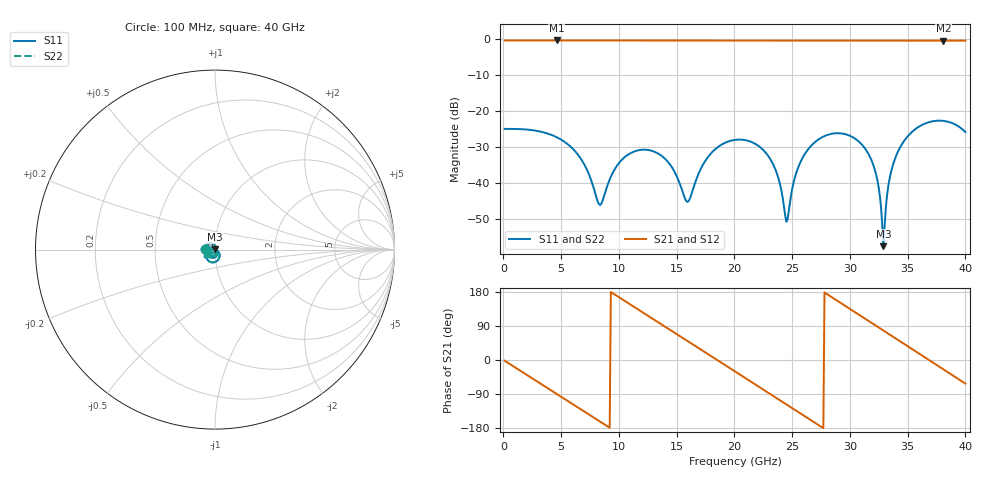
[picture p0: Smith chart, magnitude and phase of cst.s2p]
! T_ts6_ms_10: Microstrip L1, ThunderScope stack, w 0.265 mm, 10 mm
! stackup: ThunderScope Rev5.3 6-layer (FR408HR / FR-4, from the board file)
! ports: 1 near A, 2 far A
! CST Studio Suite 2025.5 Release from 2025-05-30, time domain (FIT, hexahedral, PBA), 92742 mesh cells, 20 s
! mesh: {'lpw': 20, 'lpb': 20, 'minstep': 0.0, 'ratio': 20}; ports: port 1 (face); port 2 (face)
! interpolated from CST's 1001 samples to the case grid
# Hz S RI R 50
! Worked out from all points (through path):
!   400 points, 100 MHz to 40 GHz, reference 50 ohm
!   highest |S21| = -0.51 dB at 4.6 GHz (marker M1); lowest = -0.6 dB at 38.1 GHz (marker M2)
!   group delay of S21, straight-line fit = 54.3 ps
!   lowest |S11| = -57.4 dB at 32.9 GHz (marker M3), VSWR 1.00, Z = 50 + j0.134 ohm
!   |S11| at or under -10 dB: start of sweep to end of sweep
!   |S22| runs from -57.4 to -22.7 dB; largest |S21 - S12| = 5.4e-07
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1e8  -0.0566 0.000887  0.9428 -0.032  0.9428 -0.032  -0.0566 0.000887
2.6e9  -0.0484 0.0239  0.6004 -0.7275  0.6004 -0.7275  -0.0484 0.0239
4.6e9  -0.0261 0.0348  0.0114 -0.9434  0.0114 -0.9434  -0.0261 0.0348
6.8e9  0.00151 0.0206  -0.632 -0.7003  -0.632 -0.7003  0.00151 0.0206
8.4e9  0.00464 -0.00198  -0.9024 -0.2731  -0.9024 -0.2731  0.00464 -0.00198
1.04e10  -0.0144 -0.0169  -0.8735 0.3535  -0.8735 0.3535  -0.0144 -0.0169
1.34e10  -0.0248 0.00691  -0.1575 0.9291  -0.1575 0.9291  -0.0248 0.00691
1.59e10  0.00413 0.0037  0.5945 0.731  0.5945 0.731  0.00413 0.0037
1.78e10  0.00551 -0.0234  0.9142 0.2246  0.9142 0.2246  0.00551 -0.0234
2.01e10  -0.0248 -0.0313  0.8057 -0.4852  0.8057 -0.4852  -0.0248 -0.0313
2.31e10  -0.0211 0.00491  0.00511 -0.941  0.00511 -0.941  -0.0211 0.00491
2.45e10  0.00123 0.00267  -0.4292 -0.8375  -0.4292 -0.8375  0.00123 0.00267
2.54e10  0.0113 -0.00933  -0.6629 -0.6676  -0.6629 -0.6676  0.0113 -0.00933
2.67e10  0.0105 -0.0321  -0.885 -0.3168  -0.885 -0.3168  0.0105 -0.0321
2.89e10  -0.0227 -0.0437  -0.8614 0.3736  -0.8614 0.3736  -0.0227 -0.0437
3.13e10  -0.0295 -0.00711  -0.3121 0.886  -0.3121 0.886  -0.0295 -0.00711
3.24e10  -0.0104 0.00239  0.0373 0.9389  0.0373 0.9389  -0.0104 0.00239
3.29e10  0.000216 0.00133  0.1976 0.9186  0.1976 0.9186  0.000216 0.00133
3.34e10  0.0103 -0.00338  0.3521 0.8711  0.3521 0.8711  0.0103 -0.00339
3.51e10  0.025 -0.0391  0.774 0.5303  0.774 0.5303  0.025 -0.0391
3.81e10  -0.033 -0.065  0.8503 -0.3918  0.8503 -0.3918  -0.033 -0.065
4e10  -0.0459 -0.0226  0.4358 -0.8297  0.4358 -0.8297  -0.0459 -0.0226
